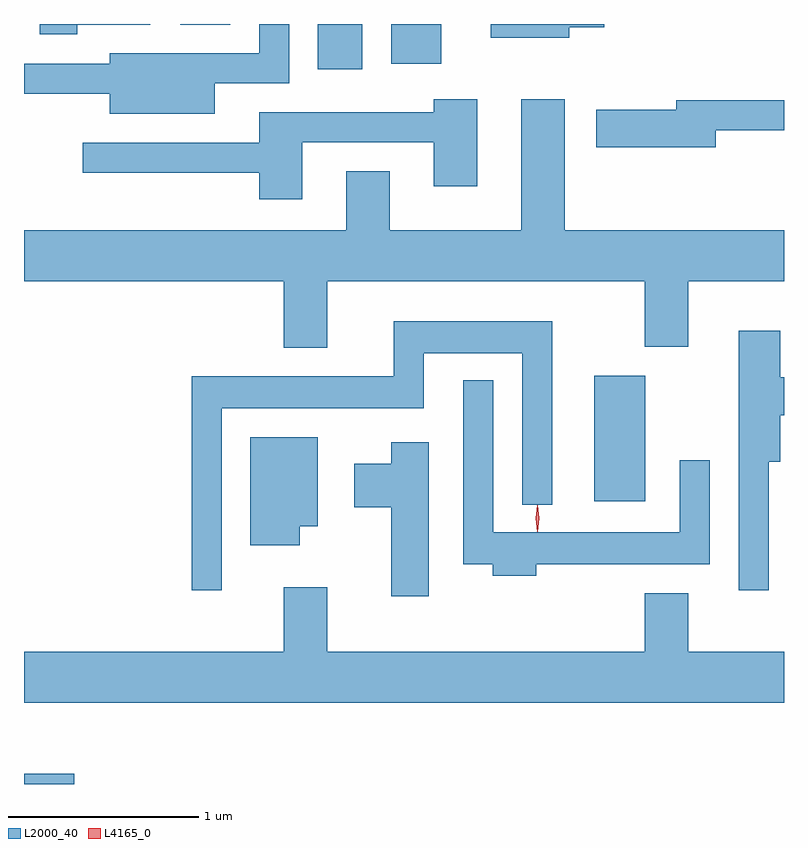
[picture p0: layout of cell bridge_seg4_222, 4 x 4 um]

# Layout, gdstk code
import gdstk
lib = gdstk.Library(unit=1e-6, precision=1e-09)
def R(c, l, rs):  # rectangles x0, y0, x1, y1
    for r in rs: c.add(gdstk.rectangle(r[:2], r[2:], *l))
def P(c, l, *ps):  # polygons
    for p in ps: c.add(gdstk.Polygon(p, *l))
L2000_40 = (2000, 40)
L4165_0 = (4165, 0)

bridge_seg4_222 = lib.new_cell('bridge_seg4_222')
R(bridge_seg4_222, L2000_40, [(1048.454,1254.349,1048.718,1254.404), (1051.456,1255.836,1051.724,1256.499), (1050.001,1258.111,1050.234,1258.349), (1050.386,1258.141,1050.649,1258.349), (1049.276,1258.346,1049.539,1258.349)])
P(bridge_seg4_222, L2000_40, [(1049.459,1258.036),(1049.849,1258.036),(1049.849,1258.349),(1049.691,1258.349),(1049.691,1258.194),(1048.906,1258.194),(1048.906,1258.139),(1048.454,1258.139),(1048.454,1257.981),(1048.906,1257.981),(1048.906,1257.876),(1049.459,1257.876)],
  [(1048.734,1258.346),(1049.119,1258.346),(1049.119,1258.349),(1048.536,1258.349),(1048.536,1258.296),(1048.734,1258.296)],
  [(1051.324,1258.331),(1051.509,1258.331),(1051.509,1258.349),(1050.911,1258.349),(1050.911,1258.276),(1051.324,1258.276)],
  [(1049.919,1257.726),(1050.611,1257.726),(1050.611,1257.496),(1050.839,1257.496),(1050.839,1257.954),(1050.611,1257.954),(1050.611,1257.884),(1049.691,1257.884),(1049.691,1257.724),(1048.763,1257.724),(1048.763,1257.566),(1049.691,1257.566),(1049.691,1257.426),(1049.919,1257.426)],
  [(1050.049,1256.996),(1051.721,1256.996),(1051.721,1256.651),(1051.949,1256.651),(1051.949,1256.996),(1052.454,1256.996),(1052.454,1257.264),(1051.299,1257.264),(1051.299,1257.954),(1051.071,1257.954),(1051.071,1257.264),(1050.379,1257.264),(1050.379,1257.574),(1050.151,1257.574),(1050.151,1257.264),(1048.454,1257.264),(1048.454,1256.996),(1049.821,1256.996),(1049.821,1256.646),(1050.049,1256.646)],
  [(1052.094,1257.791),(1052.454,1257.791),(1052.454,1257.949),(1051.886,1257.949),(1051.886,1257.899),(1051.466,1257.899),(1051.466,1257.701),(1052.094,1257.701)],
  [(1049.494,1256.326),(1050.559,1256.326),(1050.559,1256.616),(1051.076,1256.616),(1051.076,1255.818),(1051.234,1255.818),(1051.234,1256.784),(1050.401,1256.784),(1050.401,1256.494),(1049.336,1256.494),(1049.336,1255.368),(1049.494,1255.368)],
  [(1052.374,1256.046),(1052.434,1256.046),(1052.434,1256.291),(1052.454,1256.291),(1052.454,1256.489),(1052.434,1256.489),(1052.434,1256.734),(1052.216,1256.734),(1052.216,1255.368),(1052.374,1255.368)],
  [(1051.149,1255.506),(1052.064,1255.506),(1052.064,1256.053),(1051.906,1256.053),(1051.906,1255.674),(1050.924,1255.674),(1050.924,1256.473),(1050.766,1256.473),(1050.766,1255.506),(1050.921,1255.506),(1050.921,1255.446),(1051.149,1255.446)],
  [(1049.904,1255.706),(1049.999,1255.706),(1049.999,1256.174),(1049.646,1256.174),(1049.646,1255.606),(1049.904,1255.606)],
  [(1050.584,1256.149),(1050.386,1256.149),(1050.386,1256.034),(1050.191,1256.034),(1050.191,1255.806),(1050.386,1255.806),(1050.386,1255.336),(1050.584,1255.336)],
  [(1052.454,1255.044),(1051.949,1255.044),(1051.949,1255.354),(1051.721,1255.354),(1051.721,1255.044),(1050.049,1255.044),(1050.049,1255.384),(1049.821,1255.384),(1049.821,1255.044),(1048.454,1255.044),(1048.454,1254.776),(1052.454,1254.776)])
P(bridge_seg4_222, L4165_0, [(1051.156,1255.677),(1051.147,1255.747),(1051.156,1255.816),(1051.157,1255.816),(1051.158,1255.816),(1051.167,1255.747),(1051.158,1255.677),(1051.157,1255.677)])

lib.write_gds('bridge_seg4_222.gds')
